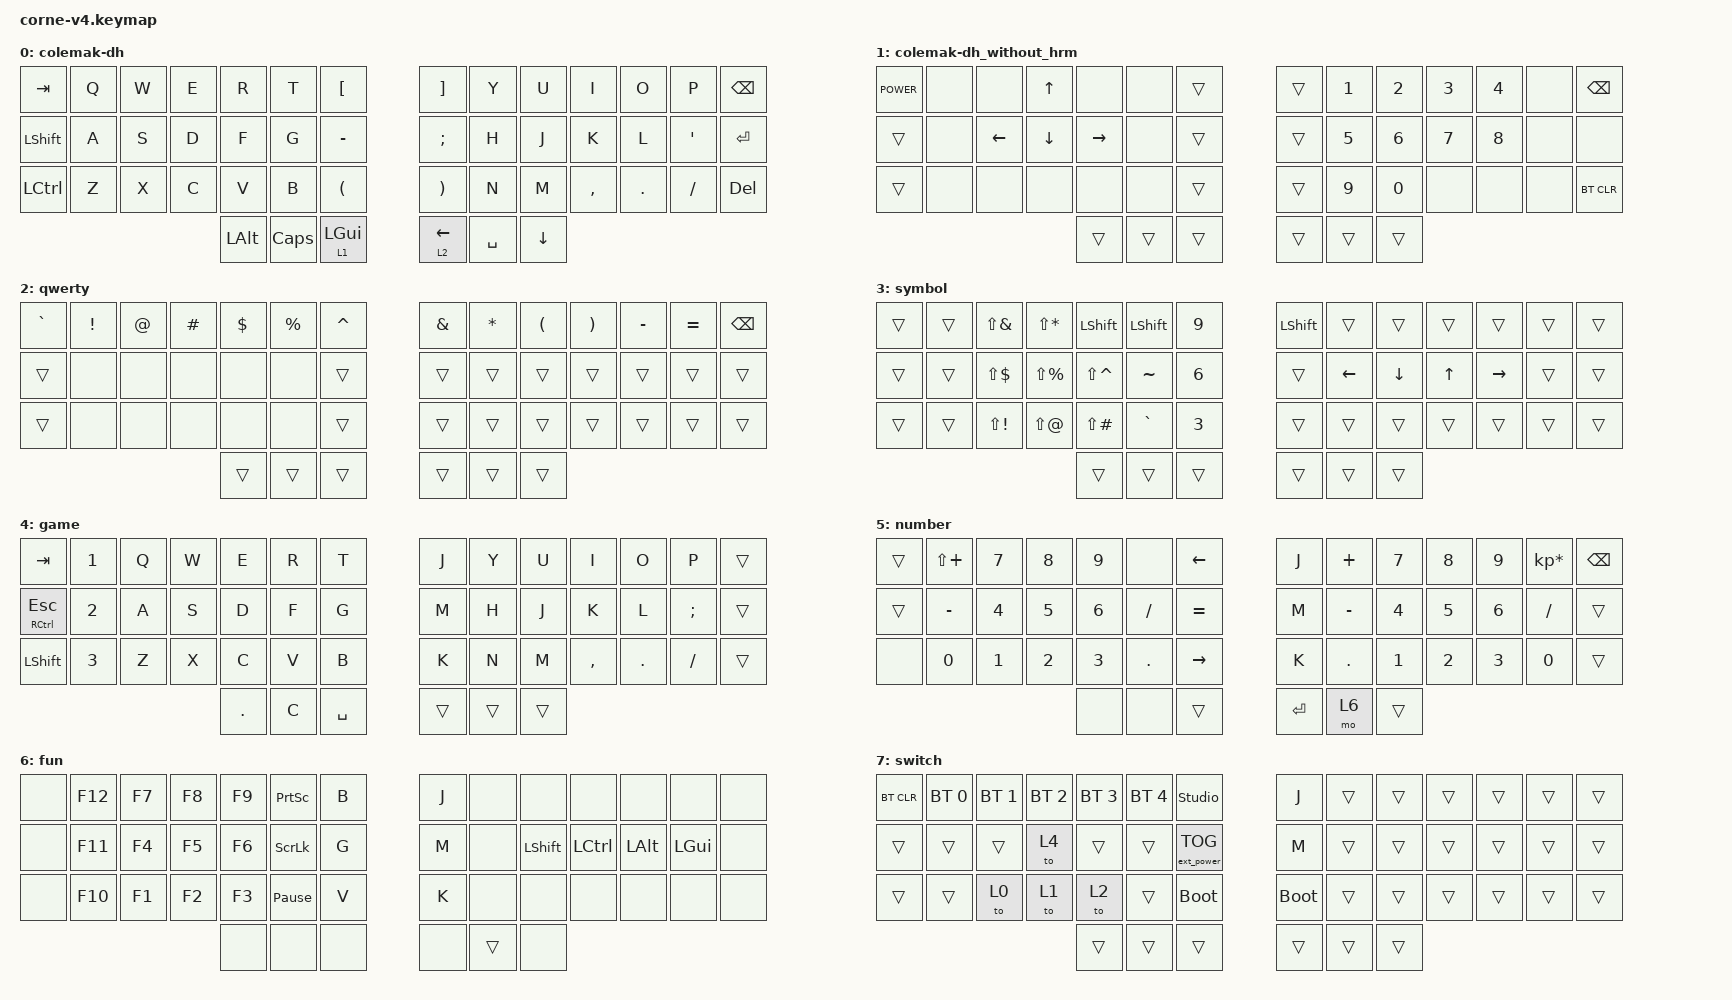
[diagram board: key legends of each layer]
#define ZMK_MOUSE_DEFAULT_MOVE_VAL 1500  // 600
#define ZMK_MOUSE_DEFAULT_SCRL_VAL 20    // 10

#include <behaviors.dtsi>
#include <dt-bindings/zmk/bt.h>
#include <dt-bindings/zmk/ext_power.h>
#include <dt-bindings/zmk/keys.h>

/ {
    combos { compatible = "zmk,combos"; };

    macros {
        love: love {
            compatible = "zmk,behavior-macro";
            #binding-cells = <0>;
            bindings = <&none &kp X &kp I &kp A &kp O &kp SPACE &kp Y &kp A &kp N &kp G &kp COMMA &kp SPACE &kp LS(I) &kp SPACE &kp L &kp O &kp V &kp E &kp SPACE &kp Y &kp O &kp U &kp COMMA &kp SPACE &kp F &kp O &kp R &kp SPACE &kp E &kp V &kp E &kp R &kp Y &kp SPACE &kp T &kp H &kp I &kp N &kp G &kp SPACE &kp W &kp E &kp SPACE &kp H &kp A &kp V &kp E &kp SPACE &kp B &kp E &kp E &kp N &kp SPACE &kp T &kp H &kp R &kp O &kp U &kp G &kp H &kp COMMA &kp SPACE &kp LS(I) &kp SPACE &kp A &kp M &kp SPACE &kp R &kp O &kp O &kp T &kp I &kp N &kp G &kp SPACE &kp F &kp O &kp R &kp SPACE &kp Y &kp O &kp U>;
            label = "LOVE";
        };
    };

    behaviors {
        hml: homewrow_mods_left {
            compatible = "zmk,behavior-hold-tap";
            label = "homewrow_mods_left";
            bindings = <&kp>, <&kp>;

            #binding-cells = <2>;
            hold-trigger-key-positions = <6 7 9 8 10 11 23 22 35 34 33 21 20 19 18 30 31 32 41 40 39>;
            tapping-term-ms = <300>;
            flavor = "balanced";
            quick-tap-ms = <175>;
            require-prior-idle-ms = <250>;
            hold-trigger-on-release;
        };

        hmr: hmr {
            compatible = "zmk,behavior-hold-tap";
            label = "HMR";
            bindings = <&kp>, <&kp>;

            #binding-cells = <2>;
            tapping-term-ms = <300>;
            hold-trigger-key-positions = <0 1 2 3 4 5 12 13 14 15 16 17 24 25 26 27 28 29 36 37 38>;
            flavor = "balanced";
            quick-tap-ms = <175>;
            require-prior-idle-ms = <250>;
            hold-trigger-on-release;
        };
    };

    keymap {
        compatible = "zmk,keymap";

        colemak-dh {
            bindings = <
&kp TAB     &kp Q  &kp W  &kp E  &kp R         &kp T         &kp LBKT                &kp RBKT               &kp Y      &kp U           &kp I      &kp O    &kp P     &kp BSPC
&kp LSHIFT  &kp A  &kp S  &kp D  &kp F         &kp G         &kp MINUS               &kp SEMI               &kp H      &kp J           &kp K      &kp L    &kp APOS  &kp ENTER
&kp LCTRL   &kp Z  &kp X  &kp C  &kp V         &kp B         &kp LEFT_PARENTHESIS    &kp RIGHT_PARENTHESIS  &kp N      &kp M           &kp COMMA  &kp DOT  &kp FSLH  &kp DEL
                                 &kp LEFT_ALT  &kp CAPSLOCK  &lt 1 LGUI              &lt 2 LEFT_ARROW       &kp SPACE  &kp DOWN_ARROW
            >;
        };

        colemak-dh_without_hrm {
            bindings = <
&kp K_POWER  &none  &none           &kp UP_ARROW  &none            &none   &trans    &trans  &kp NUMBER_1  &kp NUMBER_2  &kp NUMBER_3  &kp NUMBER_4  &none  &kp BSPC
&trans       &none  &kp LEFT_ARROW  &kp DOWN      &kp RIGHT_ARROW  &none   &trans    &trans  &kp NUMBER_5  &kp NUMBER_6  &kp NUMBER_7  &kp NUMBER_8  &none  &none
&trans       &none  &none           &none         &none            &none   &trans    &trans  &kp NUMBER_9  &kp NUMBER_0  &none         &none         &none  &bt BT_CLR
                                                  &trans           &trans  &trans    &trans  &trans        &trans
            >;
        };

        qwerty {
            bindings = <
&kp GRAVE  &kp EXCLAMATION  &kp AT  &kp HASH  &kp DLLR  &kp PRCNT  &kp CARET    &kp AMPS  &kp ASTRK  &kp LPAR  &kp RPAR  &kp MINUS  &kp EQUAL  &kp BSPC
&trans     &none            &none   &none     &none     &none      &trans       &trans    &trans     &trans    &trans    &trans     &trans     &trans
&trans     &none            &none   &none     &none     &none      &trans       &trans    &trans     &trans    &trans    &trans     &trans     &trans
                                              &trans    &trans     &trans       &trans    &trans     &trans
            >;
        };

        symbol {
            bindings = <
&trans  &trans  &kp LS(AMPS)  &kp LS(STAR)   &kp LSHFT      &kp LSHFT  &kp N9    &kp LSHFT  &trans    &trans    &trans  &trans     &trans  &trans
&trans  &trans  &kp LS(DLLR)  &kp LS(PRCNT)  &kp LS(CARET)  &kp TILDE  &kp N6    &trans     &kp LEFT  &kp DOWN  &kp UP  &kp RIGHT  &trans  &trans
&trans  &trans  &kp LS(EXCL)  &kp LS(AT)     &kp LS(POUND)  &kp GRAVE  &kp N3    &trans     &trans    &trans    &trans  &trans     &trans  &trans
                                             &trans         &trans     &trans    &trans     &trans    &trans
            >;
        };

        game {
            bindings = <
&kp TAB           &kp N1  &kp Q  &kp W  &kp E    &kp R  &kp T        &kp J   &kp Y   &kp U   &kp I      &kp O    &kp P     &trans
&mt RCTRL ESCAPE  &kp N2  &kp A  &kp S  &kp D    &kp F  &kp G        &kp M   &kp H   &kp J   &kp K      &kp L    &kp SEMI  &trans
&kp LSHFT         &kp N3  &kp Z  &kp X  &kp C    &kp V  &kp B        &kp K   &kp N   &kp M   &kp COMMA  &kp DOT  &kp FSLH  &trans
                                        &kp DOT  &kp C  &kp SPACE    &trans  &trans  &trans
            >;
        };

        number {
            // -----------------------------------------------------------------------------------------
            // |  TAB |  1  |  2  |  3  |  4  |  5  |   |  6  |  7  |  8  |  9  |  0  | BKSP |
            // | BTCLR| BT1 | BT2 | BT3 | BT4 | BT5 |   | LFT | DWN |  UP | RGT |     |      |
            // | SHFT |     |     |     |     |     |   |     |     |     |     |     |      |
            //                    | GUI |     | SPC |   | ENT |     | ALT |

            bindings = <
&trans  &kp LS(PLUS)  &kp N7  &kp N8  &kp N9  &none     &kp LEFT_ARROW    &kp J    &kp PLUS   &kp N7  &kp N8  &kp N9  &kp KP_MULTIPLY  &kp BSPC
&trans  &kp MINUS     &kp N4  &kp N5  &kp N6  &kp FSLH  &kp EQUAL         &kp M    &kp MINUS  &kp N4  &kp N5  &kp N6  &kp FSLH         &trans
&none   &kp N0        &kp N1  &kp N2  &kp N3  &kp DOT   &kp RIGHT         &kp K    &kp DOT    &kp N1  &kp N2  &kp N3  &kp N0           &trans
                                      &none   &none     &trans            &kp RET  &mo 6      &trans
            >;
        };

        fun {
            bindings = <
&none  &kp F12  &kp F7  &kp F8  &kp F9  &kp PRINTSCREEN  &kp B    &kp J  &none   &none      &none      &none     &none     &none
&none  &kp F11  &kp F4  &kp F5  &kp F6  &kp SCROLLLOCK   &kp G    &kp M  &none   &kp LSHFT  &kp LCTRL  &kp LALT  &kp LGUI  &none
&none  &kp F10  &kp F1  &kp F2  &kp F3  &kp PAUSE_BREAK  &kp V    &kp K  &none   &none      &none      &none     &none     &none
                                &none   &none            &none    &none  &trans  &none
            >;
        };

        switch {
            bindings = <
&bt BT_CLR  &bt BT_SEL 0  &bt BT_SEL 1  &bt BT_SEL 2  &bt BT_SEL 3  &bt BT_SEL 4  &studio_unlock       &kp J        &trans  &trans  &trans  &trans  &trans  &trans
&trans      &trans        &trans        &to 4         &trans        &trans        &ext_power EP_TOG    &kp M        &trans  &trans  &trans  &trans  &trans  &trans
&trans      &trans        &to 0         &to 1         &to 2         &trans        &bootloader          &bootloader  &trans  &trans  &trans  &trans  &trans  &trans
                                                      &trans        &trans        &trans               &trans       &trans  &trans
            >;

            label = "switch";
        };
    };

    conditional_layers {
        compatible = "zmk,conditional-layers";

        switch {
            if-layers = <6 5>;
            then-layer = <7>;
        };
    };
};
